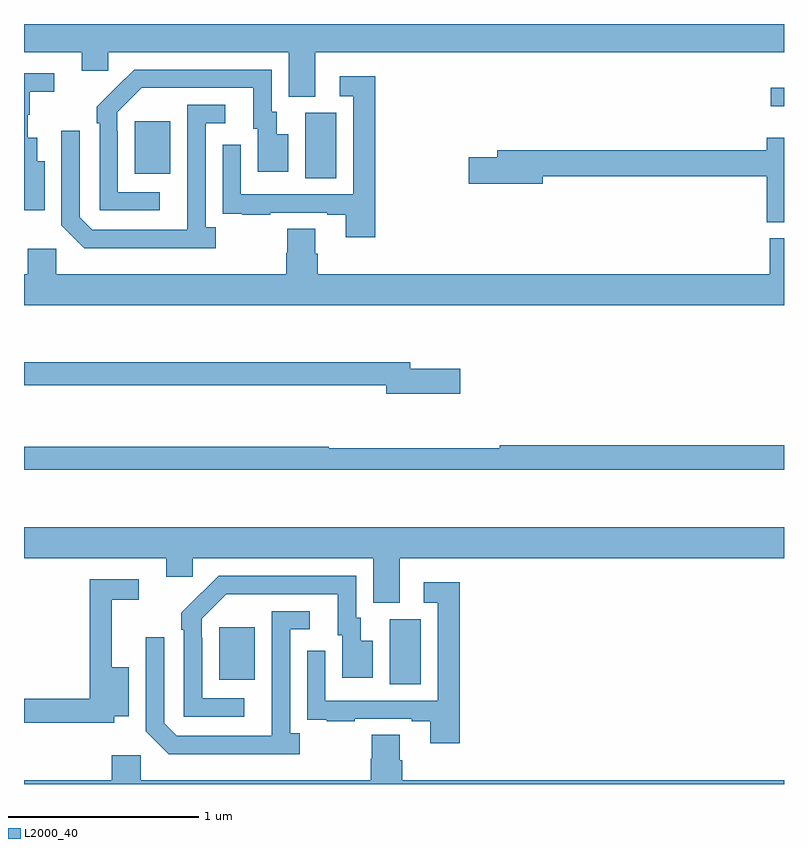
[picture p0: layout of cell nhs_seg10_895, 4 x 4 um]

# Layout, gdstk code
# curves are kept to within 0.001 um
import gdstk
lib = gdstk.Library(unit=1e-6, precision=1e-09)
def R(c, l, rs):  # rectangles x0, y0, x1, y1
    for r in rs: c.add(gdstk.rectangle(r[:2], r[2:], *l))
def P(c, l, *ps):  # polygons
    for p in ps: c.add(gdstk.Polygon(p, *l))
L2000_40 = (2000, 40)

nhs_seg10_895 = lib.new_cell('nhs_seg10_895')
R(nhs_seg10_895, L2000_40, [(158.924,1261.024,159.088,1261.368), (158.027,1261.049,158.215,1261.324), (158.48,1263.688,158.644,1264.032), (157.583,1263.713,157.771,1263.988), (160.929,1264.068,161,1264.164)])
P(nhs_seg10_895, L2000_40, [(158.533,1264.352),(161,1264.352),(161,1264.5),(157,1264.5),(157,1264.352),(157.304,1264.352),(157.304,1264.254),(157.443,1264.254),(157.443,1264.352),(158.393,1264.352),(158.393,1264.117),(158.533,1264.117)],
  [(157.714,1263.615),(157.494,1263.615),(157.494,1263.935),(157.491,1263.935),(157.491,1264.035),(157.62,1264.164),(158.207,1264.164),(158.207,1263.948),(158.231,1263.948),(158.231,1263.723),(158.392,1263.723),(158.392,1263.919),(158.329,1263.919),(158.329,1264.038),(158.304,1264.038),(158.304,1264.26),(157.58,1264.26),(157.383,1264.065),(157.383,1263.977),(157.398,1263.977),(157.398,1263.519),(157.714,1263.519)],
  [(157.108,1263.778),(157.069,1263.778),(157.069,1263.901),(157.019,1263.901),(157.019,1264.023),(157.03,1264.023),(157.03,1264.144),(157.159,1264.144),(157.159,1264.242),(157,1264.242),(157,1263.521),(157.108,1263.521)],
  [(158.849,1264.225),(158.661,1264.225),(158.661,1264.119),(158.733,1264.119),(158.733,1263.603),(158.142,1263.603),(158.142,1263.865),(158.046,1263.865),(158.046,1263.61),(158.047,1263.61),(158.047,1263.501),(158.149,1263.501),(158.149,1263.495),(158.297,1263.495),(158.297,1263.507),(158.597,1263.507),(158.597,1263.495),(158.693,1263.495),(158.693,1263.378),(158.849,1263.378)],
  [(158.008,1263.43),(157.956,1263.43),(157.956,1263.978),(158.059,1263.978),(158.059,1264.074),(157.86,1264.074),(157.859,1263.417),(157.359,1263.417),(157.293,1263.483),(157.293,1263.937),(157.197,1263.937),(157.197,1263.441),(157.318,1263.32),(158.008,1263.32)],
  [(161,1263.901),(160.91,1263.901),(160.91,1263.836),(159.491,1263.836),(159.491,1263.8),(159.342,1263.8),(159.342,1263.658),(159.73,1263.658),(159.73,1263.7),(160.91,1263.7),(160.91,1263.457),(161,1263.457)],
  [(161,1263.372),(160.925,1263.372),(160.925,1263.184),(158.546,1263.184),(158.546,1263.29),(158.533,1263.29),(158.533,1263.422),(158.386,1263.422),(158.386,1263.297),(158.381,1263.297),(158.381,1263.184),(157.17,1263.184),(157.17,1263.316),(157.019,1263.316),(157.019,1263.184),(157,1263.184),(157,1263.02),(161,1263.02)],
  [(159.295,1262.685),(159.034,1262.685),(159.034,1262.719),(157,1262.719),(157,1262.598),(158.906,1262.598),(158.906,1262.555),(159.295,1262.555)],
  [(161,1262.282),(159.503,1262.282),(159.503,1262.267),(158.603,1262.267),(158.603,1262.275),(157,1262.275),(157,1262.154),(161,1262.154)],
  [(157,1261.688),(157.748,1261.688),(157.748,1261.59),(157.887,1261.59),(157.887,1261.688),(158.837,1261.688),(158.837,1261.453),(158.977,1261.453),(158.977,1261.688),(161,1261.688),(161,1261.852),(157,1261.852)],
  [(158.158,1260.951),(157.938,1260.951),(157.938,1261.271),(157.935,1261.271),(157.935,1261.371),(158.064,1261.5),(158.651,1261.5),(158.651,1261.284),(158.675,1261.284),(158.675,1261.059),(158.836,1261.059),(158.836,1261.255),(158.773,1261.255),(158.773,1261.374),(158.748,1261.374),(158.748,1261.596),(158.024,1261.596),(157.827,1261.401),(157.827,1261.313),(157.842,1261.313),(157.842,1260.855),(158.158,1260.855)],
  [(157.476,1260.857),(157.552,1260.857),(157.552,1261.114),(157.463,1261.114),(157.463,1261.47),(157.603,1261.47),(157.603,1261.578),(157.345,1261.578),(157.345,1260.95),(157,1260.95),(157,1260.822),(157.476,1260.822)],
  [(159.293,1261.561),(159.105,1261.561),(159.105,1261.455),(159.177,1261.455),(159.177,1260.939),(158.586,1260.939),(158.586,1261.201),(158.49,1261.201),(158.49,1260.946),(158.491,1260.946),(158.491,1260.837),(158.593,1260.837),(158.593,1260.831),(158.741,1260.831),(158.741,1260.843),(159.041,1260.843),(159.041,1260.831),(159.137,1260.831),(159.137,1260.714),(159.293,1260.714)],
  [(158.452,1260.766),(158.4,1260.766),(158.4,1261.314),(158.503,1261.314),(158.503,1261.41),(158.304,1261.41),(158.303,1260.753),(157.803,1260.753),(157.737,1260.819),(157.737,1261.273),(157.641,1261.273),(157.641,1260.777),(157.762,1260.656),(158.452,1260.656)],
  [(161,1260.52),(158.99,1260.52),(158.99,1260.626),(158.977,1260.626),(158.977,1260.758),(158.83,1260.758),(158.83,1260.633),(158.825,1260.633),(158.825,1260.52),(157.614,1260.52),(157.614,1260.652),(157.463,1260.652),(157.463,1260.52),(157,1260.52),(157,1260.5),(161,1260.5)])

lib.write_gds('nhs_seg10_895.gds')
